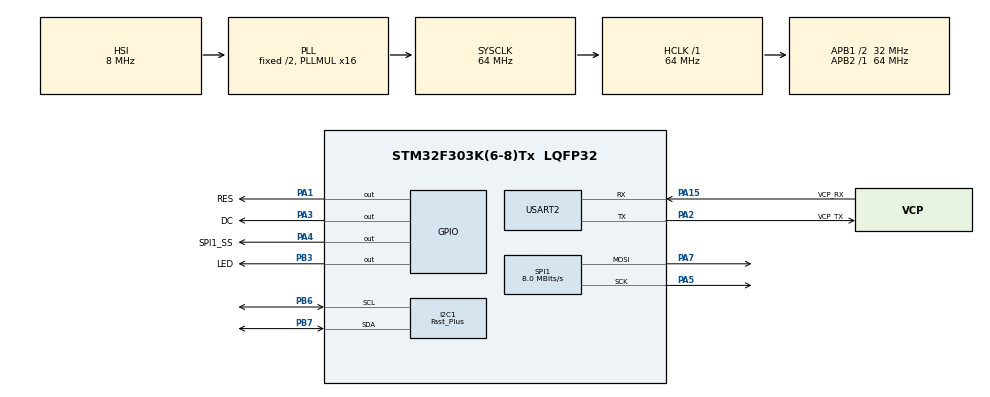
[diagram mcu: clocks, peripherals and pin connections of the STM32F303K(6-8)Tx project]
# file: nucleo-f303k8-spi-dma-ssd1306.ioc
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Dma.Request0=SPI1_TX
Dma.Request1=USART2_TX
Dma.SPI1_TX.0.Direction=DMA_MEMORY_TO_PERIPH
Dma.SPI1_TX.0.Instance=DMA1_Channel3
Dma.SPI1_TX.0.MemDataAlignment=DMA_MDATAALIGN_BYTE
Dma.SPI1_TX.0.MemInc=DMA_MINC_ENABLE
Dma.SPI1_TX.0.Mode=DMA_NORMAL
Dma.SPI1_TX.0.PeriphDataAlignment=DMA_PDATAALIGN_BYTE
Dma.SPI1_TX.0.PeriphInc=DMA_PINC_DISABLE
Dma.SPI1_TX.0.Priority=DMA_PRIORITY_LOW
Dma.USART2_TX.1.Direction=DMA_MEMORY_TO_PERIPH
Dma.USART2_TX.1.Instance=DMA1_Channel7
Dma.USART2_TX.1.MemDataAlignment=DMA_MDATAALIGN_BYTE
Dma.USART2_TX.1.MemInc=DMA_MINC_ENABLE
Dma.USART2_TX.1.Mode=DMA_NORMAL
Dma.USART2_TX.1.PeriphDataAlignment=DMA_PDATAALIGN_BYTE
Dma.USART2_TX.1.PeriphInc=DMA_PINC_DISABLE
Dma.USART2_TX.1.Priority=DMA_PRIORITY_LOW
I2C1.I2C_Speed_Mode=I2C_Fast_Plus
I2C1.Timing=0x00000001
Mcu.Family=STM32F3
Mcu.Name=STM32F303K(6-8)Tx
Mcu.Package=LQFP32
NVIC.DMA1_Channel3_IRQn=true\:0\:0\:false\:false\:true
NVIC.DMA1_Channel7_IRQn=true\:0\:0\:false\:false\:true
NVIC.PriorityGroup=NVIC_PRIORITYGROUP_4
NVIC.SPI1_IRQn=true\:0\:0\:false\:false\:true
NVIC.TIM7_DAC2_IRQn=true\:0\:0\:false\:false\:true
NVIC.USART2_IRQn=true\:0\:0\:false\:false\:true
PA1.GPIO_Label=RES
PA1.GPIO_Speed=GPIO_SPEED_FREQ_HIGH
PA1.Signal=GPIO_Output
PA13.GPIO_Label=SWDIO
PA13.Mode=Serial_Wire
PA13.Signal=SYS_JTMS-SWDIO
PA14.GPIO_Label=SWCLK
PA14.Mode=Serial_Wire
PA14.Signal=SYS_JTCK-SWCLK
PA15.GPIO_Label=VCP_RX
PA15.Mode=Asynchronous
PA15.Signal=USART2_RX
PA2.GPIO_Label=VCP_TX
PA2.Mode=Asynchronous
PA2.Signal=USART2_TX
PA3.GPIO_Label=DC
PA3.GPIO_Speed=GPIO_SPEED_FREQ_HIGH
PA3.Signal=GPIO_Output
PA4.GPIO_Label=SPI1_SS
PA4.GPIO_Speed=GPIO_SPEED_FREQ_HIGH
PA4.Signal=GPIO_Output
PA5.Mode=TX_Only_Simplex_Unidirect_Master
PA5.Signal=SPI1_SCK
PA7.Mode=TX_Only_Simplex_Unidirect_Master
PA7.Signal=SPI1_MOSI
PB3.GPIO_Label=LED
PB3.GPIO_Speed=GPIO_SPEED_FREQ_HIGH
PB3.Signal=GPIO_Output
PB6.Mode=I2C
PB6.Signal=I2C1_SCL
PB7.Mode=I2C
PB7.Signal=I2C1_SDA
PF0\ /\ OSC_IN.GPIO_Label=MCO
PF0\ /\ OSC_IN.Signal=RCC_OSC_IN
ProjectManager.HeapSize=0x200
ProjectManager.StackSize=0x400
ProjectManager.TargetToolchain=EWARM
RCC.AHBFreq_Value=64000000
RCC.APB1CLKDivider=RCC_HCLK_DIV2
RCC.APB1Freq_Value=32000000
RCC.APB1TimFreq_Value=64000000
RCC.APB2Freq_Value=64000000
RCC.APB2TimFreq_Value=64000000
RCC.CortexFreq_Value=64000000
RCC.HCLKFreq_Value=64000000
RCC.HSE_VALUE=8000000
RCC.HSI_VALUE=8000000
RCC.PLLMUL=RCC_PLL_MUL16
RCC.SYSCLKFreq_VALUE=64000000
RCC.SYSCLKSourceVirtual=RCC_SYSCLKSOURCE_PLLCLK
SPI1.BaudRatePrescaler=SPI_BAUDRATEPRESCALER_8
SPI1.CLKPhase=SPI_PHASE_1EDGE
SPI1.CalculateBaudRate=8.0 MBits/s
SPI1.DataSize=SPI_DATASIZE_8BIT
SPI1.Mode=SPI_MODE_MASTER
SPI1.NSSPMode=SPI_NSS_PULSE_DISABLE
TIM7.Period=63999
TIM7.Prescaler=999
USART2.WordLength=UART_WORDLENGTH_8B
VP_TIM7_VS_ClockSourceINT.Mode=Enable_Timer
board=NUCLEO-F303K8

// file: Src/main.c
/**
  ******************************************************************************
  * File Name          : main.c
  * Description        : Main program body
  ******************************************************************************
  *
  * COPYRIGHT(c) 2016 STMicroelectronics
  *
  * Redistribution and use in source and binary forms, with or without modification,
  * are permitted provided that the following conditions are met:
  *   1. Redistributions of source code must retain the above copyright notice,
  *      this list of conditions and the following disclaimer.
  *   2. Redistributions in binary form must reproduce the above copyright notice,
  *      this list of conditions and the following disclaimer in the documentation
  *      and/or other materials provided with the distribution.
  *   3. Neither the name of STMicroelectronics nor the names of its contributors
  *      may be used to endorse or promote products derived from this software
  *      without specific prior written permission.
  *
  * THIS SOFTWARE IS PROVIDED BY THE COPYRIGHT HOLDERS AND CONTRIBUTORS "AS IS"
  * AND ANY EXPRESS OR IMPLIED WARRANTIES, INCLUDING, BUT NOT LIMITED TO, THE
  * IMPLIED WARRANTIES OF MERCHANTABILITY AND FITNESS FOR A PARTICULAR PURPOSE ARE
  * DISCLAIMED. IN NO EVENT SHALL THE COPYRIGHT HOLDER OR CONTRIBUTORS BE LIABLE
  * FOR ANY DIRECT, INDIRECT, INCIDENTAL, SPECIAL, EXEMPLARY, OR CONSEQUENTIAL
  * DAMAGES (INCLUDING, BUT NOT LIMITED TO, PROCUREMENT OF SUBSTITUTE GOODS OR
  * SERVICES; LOSS OF USE, DATA, OR PROFITS; OR BUSINESS INTERRUPTION) HOWEVER
  * CAUSED AND ON ANY THEORY OF LIABILITY, WHETHER IN CONTRACT, STRICT LIABILITY,
  * OR TORT (INCLUDING NEGLIGENCE OR OTHERWISE) ARISING IN ANY WAY OUT OF THE USE
  * OF THIS SOFTWARE, EVEN IF ADVISED OF THE POSSIBILITY OF SUCH DAMAGE.
  *
  ******************************************************************************
  */
#include "main.h"
#include "stm32f3xx_hal.h"
#include "dma.h"
#include "i2c.h"
#include "spi.h"
#include "tim.h"
#include "usart.h"
#include "gpio.h"

/* USER CODE BEGIN Includes */
#include "ssd1306.h"
#include "binary.h"
/* USER CODE END Includes */

/* USER CODE BEGIN PV */
/* Private variables ---------------------------------------------------------*/
volatile bool uart2_transmit_complete = false;
volatile bool timer7_flag = false;
volatile bool spi1_transmit_complete = false;

#define LOGO16_GLCD_HEIGHT 16
#define LOGO16_GLCD_WIDTH  16

static const unsigned char /*PROGMEM*/ logo16_glcd_bmp[] = {
    B00000000, B11000000,
    B00000001, B11000000,
    B00000001, B11000000,
    B00000011, B11100000,
    B11110011, B11100000,
    B11111110, B11111000,
    B01111110, B11111111,
    B00110011, B10011111,
    B00011111, B11111100,
    B00001101, B01110000,
    B00011011, B10100000,
    B00111111, B11100000,
    B00111111, B11110000,
    B01111100, B11110000,
    B01110000, B01110000,
    B00000000, B00110000
};

/* USER CODE END PV */

void SystemClock_Config(void);
void Error_Handler(void);

/* USER CODE BEGIN PFP */
/* Private function prototypes -----------------------------------------------*/
void testdrawchar(void);
void testdrawline(void);
void testdrawbitmap(const uint8_t *bitmap, uint8_t w, uint8_t h);
/* USER CODE END PFP */

/* USER CODE BEGIN 0 */
static char stxbuff[128];
#define printf(...)                                                            \
    do {                                                                       \
        uart2_transmit_complete = false;                                       \
        sprintf(stxbuff, __VA_ARGS__);                                         \
        HAL_UART_Transmit_DMA(&huart2, (uint8_t *)stxbuff, strlen(stxbuff));   \
        while (!uart2_transmit_complete) __WFE();                              \
    } while (0)

#define uart_write_buffer(BUFFER, LENGTH)                                      \
    do {                                                                       \
        uart2_transmit_complete = false;                                       \
        HAL_UART_Transmit_DMA(&huart2, (uint8_t *)BUFFER, LENGTH);             \
        while (!uart2_transmit_complete) __WFE();                              \
    } while (0)

#define DELAY_MS 1000 /**< Timer Delay in milli-seconds. */
#define DRIVER_SSD1306_I2C       1

/* USER CODE END 0 */

int main(void)
{

    /* MCU Configuration----------------------------------------------------------*/

    /* Reset of all peripherals, Initializes the Flash interface and the Systick. */
    HAL_Init();

    /* Configure the system clock */
    SystemClock_Config();

    /* Initialize all configured peripherals */
    MX_GPIO_Init();
    MX_DMA_Init();
    MX_SPI1_Init();
    MX_TIM7_Init();
    MX_USART2_UART_Init();
    MX_I2C1_Init();

    /* USER CODE BEGIN 2 */
    HAL_TIM_Base_Start_IT(&htim7);
    printf("hello...\r\n");

#if DRIVER_SSD1306_I2C
    ssd1306_init_i2c();
    ssd1306_begin(SSD1306_SWITCHCAPVCC, SSD1306_I2C_ADDRESS, false);
#else
    ssd1306_init_spi();
    ssd1306_begin(SSD1306_SWITCHCAPVCC, SSD1306_I2C_ADDRESS, true);
#endif

    HAL_Delay(1000);
    ssd1306_display();
    HAL_Delay(1000*3);

    testdrawline();

    /* USER CODE END 2 */

    /* Infinite loop */
    while (1) {

        /* USER CODE BEGIN 3 */
#if 0
        if (timer7_flag) {
            HAL_GPIO_TogglePin(LED_GPIO_Port, LED_Pin);
            printf("dogma...\r\n");
            printf("hello monpetit...\r\n");
            printf("vladimir hamasky...\r\n");
            timer7_flag = false;
        }
#endif
        ssd1306_clear_display();
        // draw a single pixel
        ssd1306_draw_pixel(10, 10, WHITE);
        ssd1306_display();
        HAL_Delay(DELAY_MS);

        ssd1306_draw_circle(SSD1306_LCDWIDTH / 2, SSD1306_LCDHEIGHT / 2, 30, WHITE);
        ssd1306_display();
        HAL_Delay(DELAY_MS);

        testdrawchar();
        HAL_Delay(DELAY_MS);

        ssd1306_clear_display();
        ssd1306_display();
        HAL_Delay(DELAY_MS);

        testdrawline();

        ssd1306_clear_display();
        ssd1306_draw_bitmap(30, 16,  logo16_glcd_bmp, 16, 16, 1);
        ssd1306_display();
        HAL_Delay(DELAY_MS);

        // draw a bitmap icon and 'animate' movement
        testdrawbitmap(logo16_glcd_bmp, LOGO16_GLCD_HEIGHT, LOGO16_GLCD_WIDTH);
    }
    /* USER CODE END 3 */

}

/** System Clock Configuration
*/
void SystemClock_Config(void)
{

    RCC_OscInitTypeDef RCC_OscInitStruct;
    RCC_ClkInitTypeDef RCC_ClkInitStruct;
    RCC_PeriphCLKInitTypeDef PeriphClkInit;

    /**Initializes the CPU, AHB and APB busses clocks
    */
    RCC_OscInitStruct.OscillatorType = RCC_OSCILLATORTYPE_HSI;
    RCC_OscInitStruct.HSIState = RCC_HSI_ON;
    RCC_OscInitStruct.HSICalibrationValue = 16;
    RCC_OscInitStruct.PLL.PLLState = RCC_PLL_ON;
    RCC_OscInitStruct.PLL.PLLSource = RCC_PLLSOURCE_HSI;
    RCC_OscInitStruct.PLL.PLLMUL = RCC_PLL_MUL16;
    if (HAL_RCC_OscConfig(&RCC_OscInitStruct) != HAL_OK) {
        Error_Handler();
    }

    /**Initializes the CPU, AHB and APB busses clocks
    */
    RCC_ClkInitStruct.ClockType = RCC_CLOCKTYPE_HCLK|RCC_CLOCKTYPE_SYSCLK
                                  |RCC_CLOCKTYPE_PCLK1|RCC_CLOCKTYPE_PCLK2;
    RCC_ClkInitStruct.SYSCLKSource = RCC_SYSCLKSOURCE_PLLCLK;
    RCC_ClkInitStruct.AHBCLKDivider = RCC_SYSCLK_DIV1;
    RCC_ClkInitStruct.APB1CLKDivider = RCC_HCLK_DIV2;
    RCC_ClkInitStruct.APB2CLKDivider = RCC_HCLK_DIV1;

    if (HAL_RCC_ClockConfig(&RCC_ClkInitStruct, FLASH_LATENCY_2) != HAL_OK) {
        Error_Handler();
    }

    PeriphClkInit.PeriphClockSelection = RCC_PERIPHCLK_I2C1;
    PeriphClkInit.I2c1ClockSelection = RCC_I2C1CLKSOURCE_HSI;
    if (HAL_RCCEx_PeriphCLKConfig(&PeriphClkInit) != HAL_OK) {
        Error_Handler();
    }

    /**Configure the Systick interrupt time
    */
    HAL_SYSTICK_Config(HAL_RCC_GetHCLKFreq()/1000);

    /**Configure the Systick
    */
    HAL_SYSTICK_CLKSourceConfig(SYSTICK_CLKSOURCE_HCLK);

    /* SysTick_IRQn interrupt configuration */
    HAL_NVIC_SetPriority(SysTick_IRQn, 0, 0);
}

/* USER CODE BEGIN 4 */

void testdrawchar(void)
{
    ssd1306_clear_display();
    ssd1306_set_textsize(1);
    ssd1306_set_textcolor(WHITE);
    ssd1306_set_cursor(0, 0);

    for (uint8_t i = 0; i < 168; i++) {
        if (i == '\n') continue;
        ssd1306_write(i);
        if ((i > 0) && (i % 21 == 0))
            ssd1306_write('\n');
    }
    ssd1306_display();
}

void testdrawline(void)
{
    for (int16_t i = 0; i < ssd1306_width(); i += 4) {
        ssd1306_draw_line(0, 0, i, ssd1306_height() - 1, WHITE);
        ssd1306_display();
    }
    for (int16_t i = 0; i < ssd1306_height(); i += 4) {
        ssd1306_draw_line(0, 0, ssd1306_width() - 1, i, WHITE);
        ssd1306_display();
    }
    HAL_Delay(250);

    ssd1306_clear_display();
    for (int16_t i = 0; i < ssd1306_width(); i += 4) {
        ssd1306_draw_line(0, ssd1306_height() - 1, i, 0, WHITE);
        ssd1306_display();
    }
    for (int16_t i = ssd1306_height() - 1; i >= 0; i -= 4) {
        ssd1306_draw_line(0, ssd1306_height() - 1, ssd1306_width() - 1, i, WHITE);
        ssd1306_display();
    }
    HAL_Delay(250);

    ssd1306_clear_display();
    for (int16_t i = ssd1306_width() - 1; i >= 0; i -= 4) {
        ssd1306_draw_line(ssd1306_width() - 1, ssd1306_height() - 1, i, 0, WHITE);
        ssd1306_display();
    }
    for (int16_t i = ssd1306_height() - 1; i >= 0; i -= 4) {
        ssd1306_draw_line(ssd1306_width() - 1, ssd1306_height() - 1, 0, i, WHITE);
        ssd1306_display();
    }
    HAL_Delay(250);

    ssd1306_clear_display();
    for (int16_t i = 0; i < ssd1306_height(); i += 4) {
        ssd1306_draw_line(ssd1306_width() - 1, 0, 0, i, WHITE);
        ssd1306_display();
    }
    for (int16_t i = 0; i < ssd1306_width(); i += 4) {
        ssd1306_draw_line(ssd1306_width() - 1, 0, i, ssd1306_height() - 1, WHITE);
        ssd1306_display();
    }
    HAL_Delay(250);

    ssd1306_display();
    HAL_Delay(250);
    ssd1306_clear_display();
}

void testdrawbitmap(const uint8_t *bitmap, uint8_t w, uint8_t h)
{
#define NUMFLAKES 10
#define XPOS 0
#define YPOS 1
#define DELTAY 2

    uint8_t icons[NUMFLAKES][3];

    // initialize
    for (uint8_t f = 0; f < NUMFLAKES; f++) {
        icons[f][XPOS] = rand() % ssd1306_width();
        icons[f][YPOS] = 0;
        icons[f][DELTAY] = (rand() % 5) + 1;
    }

    while (1) {
        // draw each icon
        for (uint8_t f = 0; f < NUMFLAKES; f++) {
            ssd1306_draw_bitmap(icons[f][XPOS], icons[f][YPOS], logo16_glcd_bmp, w, h, WHITE);
        }
        ssd1306_display();
        HAL_Delay(200);

        // then erase it + move it
        for (uint8_t f = 0; f < NUMFLAKES; f++) {
            ssd1306_draw_bitmap(icons[f][XPOS], icons[f][YPOS],  logo16_glcd_bmp, w, h, BLACK);
            // move it
            icons[f][YPOS] += icons[f][DELTAY];
            // if its gone, reinit
            if (icons[f][YPOS] > ssd1306_height()) {
                icons[f][XPOS] = rand() % ssd1306_width();
                icons[f][YPOS] = 0;
                icons[f][DELTAY] = (rand() % 5) + 1;
            }
        }
    }
}

/* USER CODE END 4 */

void Error_Handler(void)
{
    while (1) {
    }
}

/************************ (C) COPYRIGHT STMicroelectronics *****END OF FILE****/
